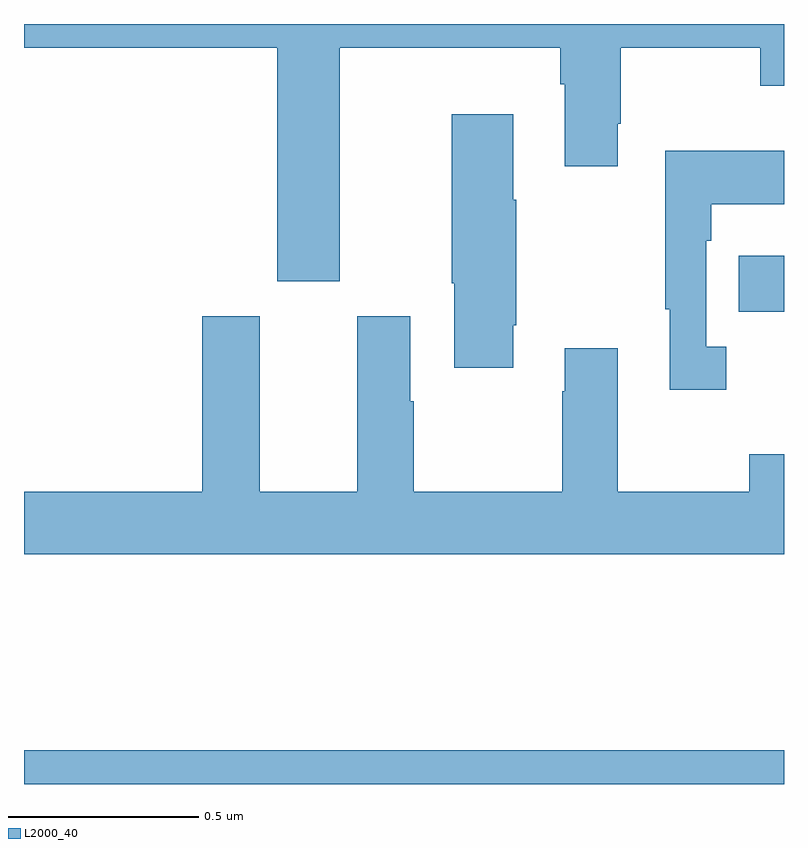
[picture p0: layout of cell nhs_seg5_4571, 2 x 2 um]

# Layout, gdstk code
import gdstk
lib = gdstk.Library(unit=1e-6, precision=1e-09)
def R(c, l, rs):  # rectangles x0, y0, x1, y1
    for r in rs: c.add(gdstk.rectangle(r[:2], r[2:], *l))
def P(c, l, *ps):  # polygons
    for p in ps: c.add(gdstk.Polygon(p, *l))
L2000_40 = (2000, 40)

nhs_seg5_4571 = lib.new_cell('nhs_seg5_4571')
R(nhs_seg5_4571, L2000_40, [(172,878.799,174,878.888), (173.881,880.042,174,880.189)])
P(nhs_seg5_4571, L2000_40, [(172.831,880.736),(173.411,880.736),(173.411,880.64),(173.423,880.64),(173.423,880.425),(173.563,880.425),(173.563,880.537),(173.571,880.537),(173.571,880.736),(173.938,880.736),(173.938,880.637),(174,880.637),(174,880.799),(172,880.799),(172,880.736),(172.667,880.736),(172.667,880.122),(172.831,880.122)],
  [(173.287,880.006),(173.295,880.006),(173.295,880.337),(173.287,880.337),(173.287,880.561),(173.125,880.561),(173.125,880.117),(173.132,880.117),(173.132,879.894),(173.287,879.894)],
  [(173.848,879.95),(173.796,879.95),(173.796,880.229),(173.809,880.229),(173.809,880.325),(174,880.325),(174,880.465),(173.688,880.465),(173.688,880.049),(173.699,880.049),(173.699,879.837),(173.848,879.837)],
  [(174,879.667),(173.908,879.667),(173.908,879.568),(173.563,879.568),(173.563,879.946),(173.423,879.946),(173.423,879.833),(173.416,879.833),(173.416,879.568),(173.025,879.568),(173.025,879.806),(173.017,879.806),(173.017,880.03),(172.877,880.03),(172.877,879.568),(172.621,879.568),(172.621,880.03),(172.469,880.03),(172.469,879.568),(172,879.568),(172,879.404),(174,879.404)])

lib.write_gds('nhs_seg5_4571.gds')
